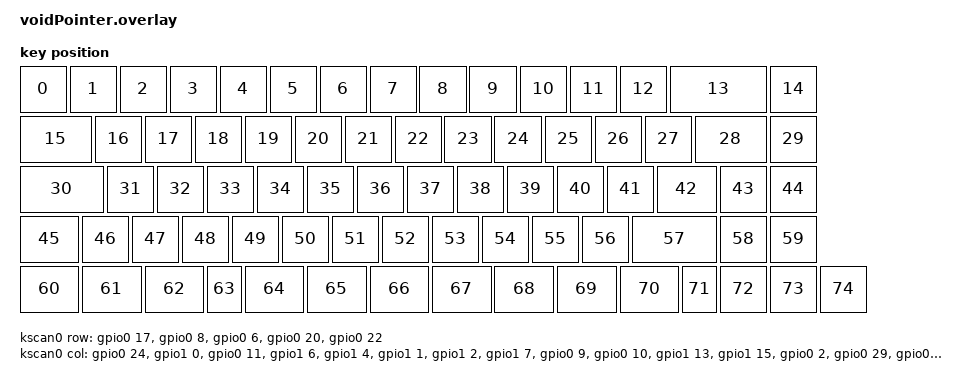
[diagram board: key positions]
/*
 * Copyright (c) 2024
 * SPDX-License-Identifier: MIT
 */

#include <physical_layouts.dtsi>

/ {
    chosen {
        zmk,kscan = &kscan0;
        zmk,matrix_transform = &default_transform;
        zmk,physical-layout = &physical_layout0;
    };

    default_transform: keymap_transform_0 {
        compatible = "zmk,matrix-transform";
        columns = <15>;
        rows = <5>;
        map = <
            0  1  2  3  4  5  6  7  8  9 10 11 12 13 14
           15 16 17 18 19 20 21 22 23 24 25 26 27 28 29
           30 31 32 33 34 35 36 37 38 39 40 41 42 43 44
           45 46 47 48 49 50 51 52 53 54 55 56 57 58 59
           60 61 62 63 64 65 66 67 68 69 70 71 72 73 74
        >;
    };

    physical_layout0: physical_layout_0 {
        compatible = "zmk,physical-layout";
        display-name = "65% ANSI";
        transform = <&default_transform>;
        kscan = <&kscan0>;

        keys  //                     w   h    x    y     rot    rx    ry
            // Row 0: Esc, 1-0, -, =, Backspace (2u), Home
            = <&key_physical_attrs 100 100    0    0       0     0     0>   // Esc
            , <&key_physical_attrs 100 100  100    0       0     0     0>   // 1
            , <&key_physical_attrs 100 100  200    0       0     0     0>   // 2
            , <&key_physical_attrs 100 100  300    0       0     0     0>   // 3
            , <&key_physical_attrs 100 100  400    0       0     0     0>   // 4
            , <&key_physical_attrs 100 100  500    0       0     0     0>   // 5
            , <&key_physical_attrs 100 100  600    0       0     0     0>   // 6
            , <&key_physical_attrs 100 100  700    0       0     0     0>   // 7
            , <&key_physical_attrs 100 100  800    0       0     0     0>   // 8
            , <&key_physical_attrs 100 100  900    0       0     0     0>   // 9
            , <&key_physical_attrs 100 100 1000    0       0     0     0>   // 0
            , <&key_physical_attrs 100 100 1100    0       0     0     0>   // -
            , <&key_physical_attrs 100 100 1200    0       0     0     0>   // =
            , <&key_physical_attrs 200 100 1300    0       0     0     0>   // Backspace 2u
            , <&key_physical_attrs 100 100 1500    0       0     0     0>   // Home
            // Row 1: Tab (1.5u), Q-], \ (1.5u), PgUp
            , <&key_physical_attrs 150 100    0  100       0     0     0>   // Tab 1.5u
            , <&key_physical_attrs 100 100  150  100       0     0     0>   // Q
            , <&key_physical_attrs 100 100  250  100       0     0     0>   // W
            , <&key_physical_attrs 100 100  350  100       0     0     0>   // E
            , <&key_physical_attrs 100 100  450  100       0     0     0>   // R
            , <&key_physical_attrs 100 100  550  100       0     0     0>   // T
            , <&key_physical_attrs 100 100  650  100       0     0     0>   // Y
            , <&key_physical_attrs 100 100  750  100       0     0     0>   // U
            , <&key_physical_attrs 100 100  850  100       0     0     0>   // I
            , <&key_physical_attrs 100 100  950  100       0     0     0>   // O
            , <&key_physical_attrs 100 100 1050  100       0     0     0>   // P
            , <&key_physical_attrs 100 100 1150  100       0     0     0>   // [
            , <&key_physical_attrs 100 100 1250  100       0     0     0>   // ]
            , <&key_physical_attrs 150 100 1350  100       0     0     0>   // \ 1.5u
            , <&key_physical_attrs 100 100 1500  100       0     0     0>   // PgUp
            // Row 2: Caps (1.75u), A-', Enter (2.25u), PgDn
            , <&key_physical_attrs 175 100    0  200       0     0     0>   // Caps 1.75u
            , <&key_physical_attrs 100 100  175  200       0     0     0>   // A
            , <&key_physical_attrs 100 100  275  200       0     0     0>   // S
            , <&key_physical_attrs 100 100  375  200       0     0     0>   // D
            , <&key_physical_attrs 100 100  475  200       0     0     0>   // F
            , <&key_physical_attrs 100 100  575  200       0     0     0>   // G
            , <&key_physical_attrs 100 100  675  200       0     0     0>   // H
            , <&key_physical_attrs 100 100  775  200       0     0     0>   // J
            , <&key_physical_attrs 100 100  875  200       0     0     0>   // K
            , <&key_physical_attrs 100 100  975  200       0     0     0>   // L
            , <&key_physical_attrs 100 100 1075  200       0     0     0>   // ;
            , <&key_physical_attrs 100 100 1175  200       0     0     0>   // '
            , <&key_physical_attrs 125 100 1275  200       0     0     0>   // Enter parte 1 (matriz)
            , <&key_physical_attrs 100 100 1400  200       0     0     0>   // Enter parte 2 (matriz)
            , <&key_physical_attrs 100 100 1500  200       0     0     0>   // PgDn
            // Row 3: Shift (2.25u), Z-/, Shift (1.75u), Up, End
            , <&key_physical_attrs 125 100    0  300       0     0     0>   // LShift parte 1 (matriz)
            , <&key_physical_attrs 100 100  125  300       0     0     0>   // LShift parte 2 (matriz)
            , <&key_physical_attrs 100 100  225  300       0     0     0>   // Z
            , <&key_physical_attrs 100 100  325  300       0     0     0>   // X
            , <&key_physical_attrs 100 100  425  300       0     0     0>   // C
            , <&key_physical_attrs 100 100  525  300       0     0     0>   // V
            , <&key_physical_attrs 100 100  625  300       0     0     0>   // B
            , <&key_physical_attrs 100 100  725  300       0     0     0>   // N
            , <&key_physical_attrs 100 100  825  300       0     0     0>   // M
            , <&key_physical_attrs 100 100  925  300       0     0     0>   // ,
            , <&key_physical_attrs 100 100 1025  300       0     0     0>   // .
            , <&key_physical_attrs 100 100 1125  300       0     0     0>   // /
            , <&key_physical_attrs 175 100 1225  300       0     0     0>   // RShift 1.75u
            , <&key_physical_attrs 100 100 1400  300       0     0     0>   // Up
            , <&key_physical_attrs 100 100 1500  300       0     0     0>   // End
            // Row 4: Ctrl (1.25u), GUI (1.25u), Alt (1.25u), Space (6.25u split), Alt (1.25u), Fn (1.25u), Left, Down, Right
            , <&key_physical_attrs 125 100    0  400       0     0     0>   // LCtrl 1.25u
            , <&key_physical_attrs 125 100  125  400       0     0     0>   // LGUI 1.25u
            , <&key_physical_attrs 125 100  250  400       0     0     0>   // LAlt 1.25u
            , <&key_physical_attrs  75 100  375  400       0     0     0>   // LAlt (matriz)
            , <&key_physical_attrs 125 100  450  400       0     0     0>   // Space parte 1
            , <&key_physical_attrs 125 100  575  400       0     0     0>   // Space parte 2
            , <&key_physical_attrs 125 100  700  400       0     0     0>   // Space parte 3
            , <&key_physical_attrs 125 100  825  400       0     0     0>   // Space parte 4
            , <&key_physical_attrs 125 100  950  400       0     0     0>   // Space parte 5
            , <&key_physical_attrs 125 100 1075  400       0     0     0>   // RAlt 1.25u
            , <&key_physical_attrs 125 100 1200  400       0     0     0>   // Fn 1.25u
            , <&key_physical_attrs  75 100 1325  400       0     0     0>   // RCtrl (matriz)
            , <&key_physical_attrs 100 100 1400  400       0     0     0>   // Left
            , <&key_physical_attrs 100 100 1500  400       0     0     0>   // Down
            , <&key_physical_attrs 100 100 1600  400       0     0     0>   // Right
            ;
    };

    kscan0: kscan {
        compatible = "zmk,kscan-gpio-matrix";
        diode-direction = "col2row";

        row-gpios
            = <&gpio0 17 (GPIO_ACTIVE_HIGH | GPIO_PULL_DOWN)>
            , <&gpio0 8 (GPIO_ACTIVE_HIGH | GPIO_PULL_DOWN)>
            , <&gpio0 6 (GPIO_ACTIVE_HIGH | GPIO_PULL_DOWN)>
            , <&gpio0 20 (GPIO_ACTIVE_HIGH | GPIO_PULL_DOWN)>
            , <&gpio0 22 (GPIO_ACTIVE_HIGH | GPIO_PULL_DOWN)>
            ;

        col-gpios
            = <&gpio0 24 GPIO_ACTIVE_HIGH>
            , <&gpio1 0 GPIO_ACTIVE_HIGH>
            , <&gpio0 11 GPIO_ACTIVE_HIGH>
            , <&gpio1 6 GPIO_ACTIVE_HIGH>
            , <&gpio1 4 GPIO_ACTIVE_HIGH>
            , <&gpio1 1 GPIO_ACTIVE_HIGH>
            , <&gpio1 2 GPIO_ACTIVE_HIGH>
            , <&gpio1 7 GPIO_ACTIVE_HIGH>
            , <&gpio0 9 GPIO_ACTIVE_HIGH>
            , <&gpio0 10 GPIO_ACTIVE_HIGH>
            , <&gpio1 13 GPIO_ACTIVE_HIGH>
            , <&gpio1 15 GPIO_ACTIVE_HIGH>
            , <&gpio0 2 GPIO_ACTIVE_HIGH>
            , <&gpio0 29 GPIO_ACTIVE_HIGH>
            , <&gpio0 31 GPIO_ACTIVE_HIGH>
            ;
    };
};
